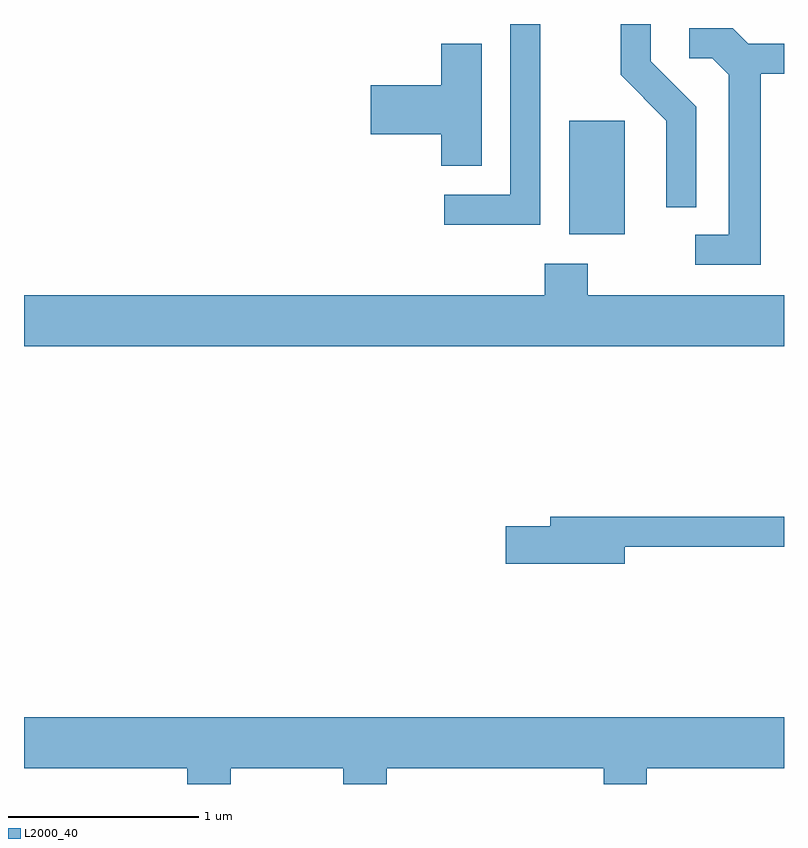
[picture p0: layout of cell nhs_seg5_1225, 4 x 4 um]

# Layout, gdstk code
import gdstk
lib = gdstk.Library(unit=1e-6, precision=1e-09)
def R(c, l, rs):  # rectangles x0, y0, x1, y1
    for r in rs: c.add(gdstk.rectangle(r[:2], r[2:], *l))
def P(c, l, *ps):  # polygons
    for p in ps: c.add(gdstk.Polygon(p, *l))
L2000_40 = (2000, 40)

nhs_seg5_1225 = lib.new_cell('nhs_seg5_1225')
R(nhs_seg5_1225, L2000_40, [(224.481,1432.966,224.774,1433.564)])
P(nhs_seg5_1225, L2000_40, [(224.329,1434.072),(224.171,1434.072),(224.171,1433.174),(223.823,1433.174),(223.823,1433.016),(224.329,1433.016)],
  [(225.149,1433.637),(224.909,1433.877),(224.909,1434.072),(224.751,1434.072),(224.751,1433.804),(224.991,1433.564),(224.991,1433.108),(225.149,1433.108)],
  [(225.489,1433.811),(225.611,1433.811),(225.611,1433.969),(225.422,1433.969),(225.342,1434.049),(225.113,1434.049),(225.113,1433.891),(225.234,1433.891),(225.321,1433.804),(225.321,1432.964),(225.143,1432.964),(225.143,1432.806),(225.489,1432.806)],
  [(224.019,1433.969),(223.806,1433.969),(223.806,1433.749),(223.436,1433.749),(223.436,1433.491),(223.806,1433.491),(223.806,1433.326),(224.019,1433.326)],
  [(225.611,1432.644),(224.579,1432.644),(224.579,1432.809),(224.351,1432.809),(224.351,1432.644),(221.611,1432.644),(221.611,1432.376),(225.611,1432.376)],
  [(224.774,1431.321),(225.611,1431.321),(225.611,1431.479),(224.381,1431.479),(224.381,1431.429),(224.146,1431.429),(224.146,1431.231),(224.774,1431.231)],
  [(222.699,1430.156),(223.291,1430.156),(223.291,1430.072),(223.519,1430.072),(223.519,1430.156),(224.661,1430.156),(224.661,1430.072),(224.889,1430.072),(224.889,1430.156),(225.611,1430.156),(225.611,1430.424),(221.611,1430.424),(221.611,1430.156),(222.471,1430.156),(222.471,1430.072),(222.699,1430.072)])

lib.write_gds('nhs_seg5_1225.gds')
